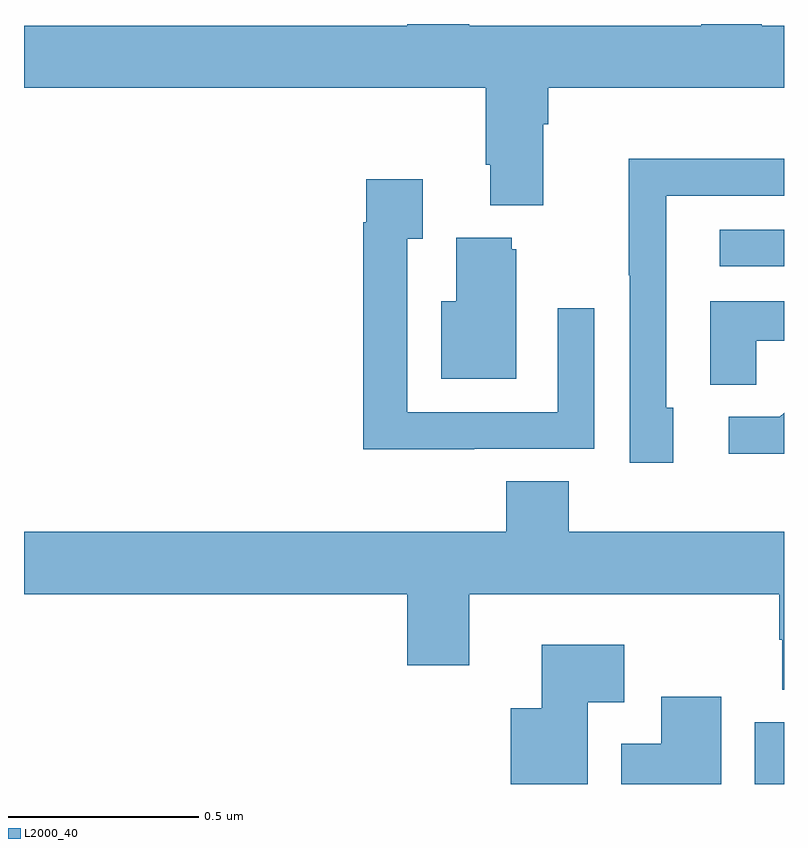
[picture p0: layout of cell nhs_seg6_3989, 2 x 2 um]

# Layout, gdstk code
import gdstk
lib = gdstk.Library(unit=1e-6, precision=1e-09)
def R(c, l, rs):  # rectangles x0, y0, x1, y1
    for r in rs: c.add(gdstk.rectangle(r[:2], r[2:], *l))
def P(c, l, *ps):  # polygons
    for p in ps: c.add(gdstk.Polygon(p, *l))
L2000_40 = (2000, 40)

nhs_seg6_3989 = lib.new_cell('nhs_seg6_3989')
R(nhs_seg6_3989, L2000_40, [(165.923,949.5,166,949.663), (165.831,950.862,166,950.958)])
P(nhs_seg6_3989, L2000_40, [(165.367,951.236),(165.38,951.236),(165.38,951.332),(166,951.332),(166,951.496),(165.942,951.496),(165.942,951.5),(165.782,951.5),(165.782,951.496),(165.172,951.496),(165.172,951.5),(165.008,951.5),(165.008,951.496),(164,951.496),(164,951.332),(165.215,951.332),(165.215,951.13),(165.227,951.13),(165.227,951.023),(165.367,951.023)],
  [(165.709,950.49),(165.69,950.49),(165.69,951.048),(166,951.048),(166,951.146),(165.592,951.146),(165.592,950.839),(165.594,950.839),(165.594,950.346),(165.709,950.346)],
  [(165.185,950.382),(165.501,950.382),(165.501,950.752),(165.405,950.752),(165.405,950.478),(165.009,950.478),(165.009,950.935),(165.049,950.935),(165.049,951.091),(164.901,951.091),(164.901,950.978),(164.893,950.978),(164.893,950.381),(165.185,950.381)],
  [(165.295,950.907),(165.284,950.907),(165.284,950.938),(165.137,950.938),(165.137,950.77),(165.098,950.77),(165.098,950.567),(165.295,950.567)],
  [(165.927,950.666),(166,950.666),(166,950.77),(165.806,950.77),(165.806,950.551),(165.927,950.551)],
  [(166,950.477),(165.989,950.466),(165.855,950.466),(165.855,950.369),(166,950.369)],
  [(166,950.164),(165.434,950.164),(165.434,950.297),(165.269,950.297),(165.269,950.164),(164,950.164),(164,950),(165.008,950),(165.008,949.812),(165.172,949.812),(165.172,950),(165.988,950),(165.988,949.88),(165.995,949.88),(165.995,949.748),(166,949.748)],
  [(165.484,949.715),(165.58,949.715),(165.58,949.867),(165.362,949.867),(165.362,949.699),(165.281,949.699),(165.281,949.5),(165.484,949.5)],
  [(165.835,949.729),(165.677,949.729),(165.677,949.606),(165.572,949.606),(165.572,949.5),(165.835,949.5)])

lib.write_gds('nhs_seg6_3989.gds')
